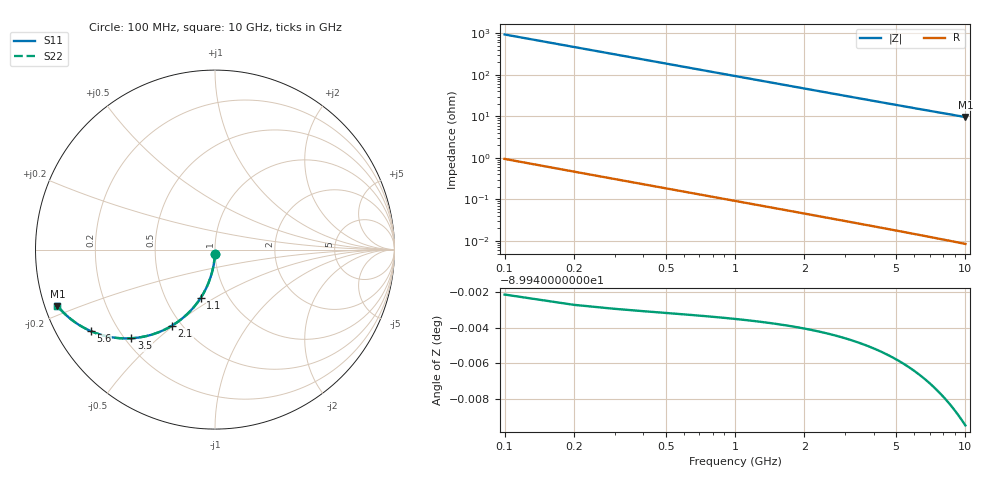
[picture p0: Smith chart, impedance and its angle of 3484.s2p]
# Hz S RI R 50.00
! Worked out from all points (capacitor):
!   100 points, 100 MHz to 10 GHz, reference 50 ohm
!   read as one part in shunt: C = 1.7 pF near 100 MHz
!   lowest |Z| = 9.64 ohm at 10 GHz (marker M1)
!   S11 on the Smith chart (normalised r, x): 100 MHz: 1.00, -0.05; 1.1 GHz: 0.74, -0.43; 2.1 GHz: 0.44, -0.49; 3.5 GHz: 0.23, -0.41; 5.6 GHz: 0.10, -0.30; 10 GHz: 0.04, -0.17
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1e8  -0.000698 -0.0266  0.9992 -0.0268  0.9992 -0.0268  -0.000698 -0.0266
2e8  -0.00286 -0.053  0.9971 -0.0535  0.9971 -0.0535  -0.00286 -0.053
3e8  -0.00642 -0.0792  0.9935 -0.08  0.9935 -0.08  -0.00642 -0.0792
4e8  -0.0113 -0.1051  0.9886 -0.1061  0.9886 -0.1061  -0.0113 -0.1051
5e8  -0.0176 -0.1306  0.9823 -0.1318  0.9823 -0.1318  -0.0176 -0.1306
6e8  -0.0251 -0.1555  0.9748 -0.157  0.9748 -0.157  -0.0251 -0.1555
7e8  -0.0339 -0.1797  0.966 -0.1815  0.966 -0.1815  -0.0339 -0.1797
9e8  -0.0548 -0.226  0.9451 -0.2283  0.9451 -0.2283  -0.0548 -0.226
1.1e9  -0.0796 -0.2689  0.9203 -0.2717  0.9203 -0.2717  -0.0796 -0.2689
1.4e9  -0.1229 -0.3261  0.8771 -0.3296  0.8771 -0.3296  -0.1229 -0.3261
1.8e9  -0.1879 -0.3879  0.812 -0.3924  0.812 -0.3924  -0.1879 -0.3879
2.1e9  -0.2394 -0.4236  0.7605 -0.4289  0.7605 -0.4289  -0.2394 -0.4236
2.7e9  -0.3421 -0.4705  0.6578 -0.4773  0.6578 -0.4773  -0.3421 -0.4705
3.4e9  -0.4518 -0.4929  0.5481 -0.5015  0.5481 -0.5015  -0.4518 -0.4929
3.5e9  -0.4662 -0.4939  0.5337 -0.5028  0.5337 -0.5028  -0.4662 -0.4939
4.3e9  -0.5685 -0.4893  0.4313 -0.5002  0.4313 -0.5002  -0.5685 -0.4893
5.1e9  -0.6496 -0.4701  0.3503 -0.483  0.3503 -0.483  -0.6496 -0.4701
5.6e9  -0.6909 -0.4545  0.3089 -0.4687  0.3089 -0.4687  -0.6909 -0.4545
6.7e9  -0.762 -0.4167  0.2378 -0.4338  0.2378 -0.4338  -0.762 -0.4167
7.5e9  -0.8006 -0.3893  0.1991 -0.4086  0.1991 -0.4086  -0.8006 -0.3893
8.4e9  -0.8345 -0.3601  0.1652 -0.3818  0.1652 -0.3818  -0.8345 -0.3601
1e10  -0.8776 -0.314  0.122 -0.34  0.122 -0.34  -0.8776 -0.314
